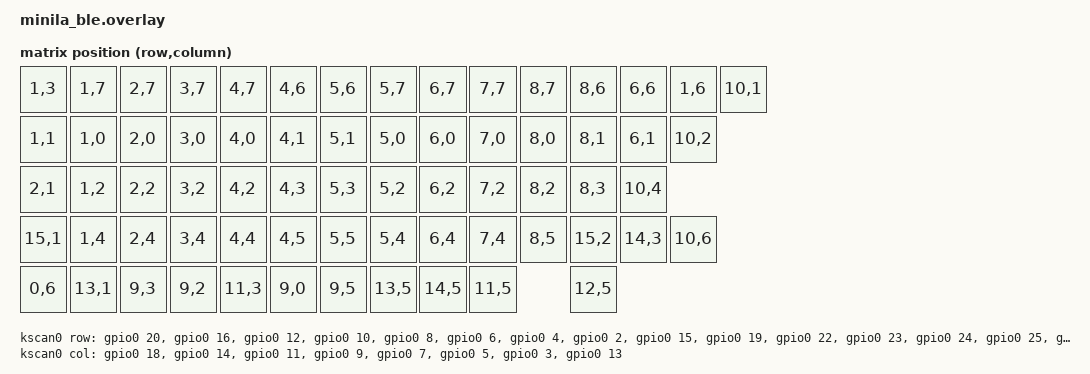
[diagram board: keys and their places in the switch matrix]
/*
 * Copyright (c) 2024 The ZMK Contributors
 *
 * SPDX-License-Identifier: MIT
 */

#include <dt-bindings/zmk/matrix_transform.h>

/ {
    chosen {
        zmk,kscan = &kscan0;
        zmk,matrix-transform = &default_transform;
        // zmk,capslock-led = &led1;
        // zmk,advertising-led = &led0;
        // zmk,connected-led = &led0;
    };

    default_transform: keymap_transform_0 {
        compatible = "zmk,matrix-transform";
        columns = <8>;
        rows = <16>;
        map = <
        RC(1,3) RC(1,7) RC(2,7) RC(3,7) RC(4,7) RC(4,6) RC(5,6) RC(5,7) RC(6,7) RC(7,7) RC(8,7) RC(8,6) RC(6,6) RC(1,6) RC(10,1)
        RC(1,1) RC(1,0) RC(2,0) RC(3,0) RC(4,0) RC(4,1) RC(5,1) RC(5,0) RC(6,0) RC(7,0) RC(8,0) RC(8,1) RC(6,1) RC(10,2)
        RC(2,1) RC(1,2) RC(2,2) RC(3,2) RC(4,2) RC(4,3) RC(5,3) RC(5,2) RC(6,2) RC(7,2) RC(8,2) RC(8,3) RC(10,4)
        RC(15,1) RC(1,4) RC(2,4) RC(3,4) RC(4,4) RC(4,5) RC(5,5) RC(5,4) RC(6,4) RC(7,4) RC(8,5) RC(15,2) RC(14,3) RC(10,6)
        RC(0,6) RC(13,1) RC(9,3) RC(9,2) RC(11,3) RC(9,0) RC(9,5) RC(13,5) RC(14,5) RC(11,5) RC(12,5)
        >;
    };

    kscan0: kscan {
        compatible = "zmk,kscan-gpio-matrix";

        diode-direction = "col2row";
        row-gpios
            = <&gpio0 20 (GPIO_ACTIVE_HIGH | GPIO_PULL_DOWN)>
            , <&gpio0 16 (GPIO_ACTIVE_HIGH | GPIO_PULL_DOWN)>
            , <&gpio0 12 (GPIO_ACTIVE_HIGH | GPIO_PULL_DOWN)>
            , <&gpio0 10 (GPIO_ACTIVE_HIGH | GPIO_PULL_DOWN)>
            , <&gpio0 8 (GPIO_ACTIVE_HIGH | GPIO_PULL_DOWN)>
            , <&gpio0 6 (GPIO_ACTIVE_HIGH | GPIO_PULL_DOWN)>
            , <&gpio0 4 (GPIO_ACTIVE_HIGH | GPIO_PULL_DOWN)>
            , <&gpio0 2 (GPIO_ACTIVE_HIGH | GPIO_PULL_DOWN)>
            , <&gpio0 15 (GPIO_ACTIVE_HIGH | GPIO_PULL_DOWN)>
            , <&gpio0 19 (GPIO_ACTIVE_HIGH | GPIO_PULL_DOWN)>
            , <&gpio0 22 (GPIO_ACTIVE_HIGH | GPIO_PULL_DOWN)>
            , <&gpio0 23 (GPIO_ACTIVE_HIGH | GPIO_PULL_DOWN)>
            , <&gpio0 24 (GPIO_ACTIVE_HIGH | GPIO_PULL_DOWN)>
            , <&gpio0 25 (GPIO_ACTIVE_HIGH | GPIO_PULL_DOWN)>
            , <&gpio0 17 (GPIO_ACTIVE_HIGH | GPIO_PULL_DOWN)>
            , <&gpio0 31 (GPIO_ACTIVE_HIGH | GPIO_PULL_DOWN)>
            ;
        col-gpios
            = <&gpio0 18 GPIO_ACTIVE_HIGH>
            , <&gpio0 14 GPIO_ACTIVE_HIGH>
            , <&gpio0 11 GPIO_ACTIVE_HIGH>
            , <&gpio0 9 GPIO_ACTIVE_HIGH>
            , <&gpio0 7 GPIO_ACTIVE_HIGH>
            , <&gpio0 5 GPIO_ACTIVE_HIGH>
            , <&gpio0 3 GPIO_ACTIVE_HIGH>
            , <&gpio0 13 GPIO_ACTIVE_HIGH>
            ;
    };

    leds {
        status = "okay";
        compatible = "gpio-leds";
		led0: led_0 {
			gpios = <&gpio0 26 GPIO_ACTIVE_LOW>;
			label = "Right LED";
		};
		led1: led_1 {
			gpios = <&gpio0 30 GPIO_ACTIVE_LOW>;
			label = "Left LED";
		};
    };
    
	aliases {
		indicator-led = &led0;
    };
};
